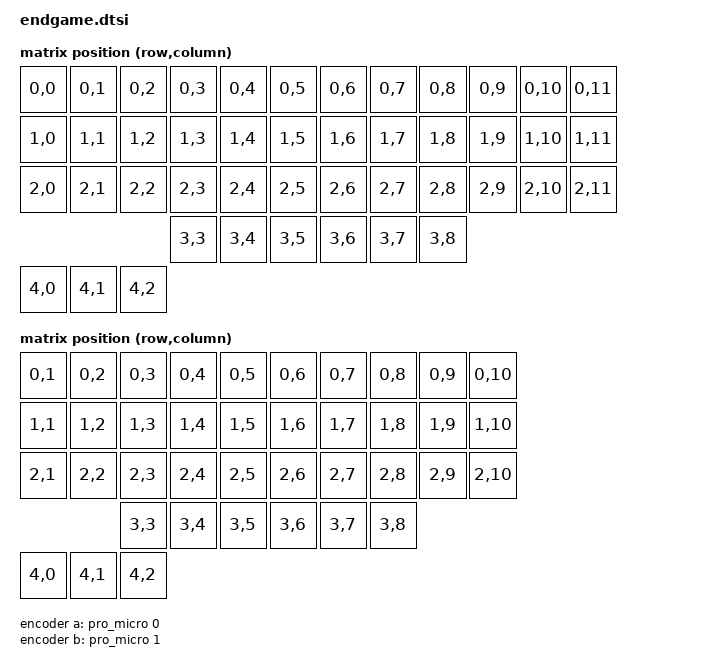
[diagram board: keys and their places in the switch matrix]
/*
 * Copyright (c) 2020 Pete Johanson
 *
 * SPDX-License-Identifier: MIT
 */

#include <dt-bindings/zmk/matrix_transform.h>

&pinctrl {
    spi0_default: spi0_default {
        group1 {
            psels = <NRF_PSEL(SPIM_SCK, 0, 29)>,
                <NRF_PSEL(SPIM_MOSI, 0, 31)>,
                <NRF_PSEL(SPIM_MISO, 0, 31)>;
        };
    };

    spi0_sleep: spi0_sleep {
        group1 {
            psels = <NRF_PSEL(SPIM_SCK, 0, 29)>,
                <NRF_PSEL(SPIM_MOSI, 0, 31)>,
                <NRF_PSEL(SPIM_MISO, 0, 31)>;
            low-power-enable;
        };
    };
};

&spi1 {
    status = "okay";
    compatible = "nordic,nrf-spim";
    pinctrl-0 = <&spi0_default>;
    pinctrl-1 = <&spi0_sleep>;
    pinctrl-names = "default", "sleep";
    cs-gpios = <&gpio0 2 GPIO_ACTIVE_LOW>;

    trackball: trackball@0 {
        status = "okay";
        compatible = "pixart,pmw3610";
		wakeup-source;
        reg = <0>;
        spi-max-frequency = <2000000>;
        irq-gpios = <&gpio1 13 (GPIO_ACTIVE_LOW | GPIO_PULL_UP)>;
        cpi = <400>;
	evt-type = <0x02>;
        x-input-code = <0x00>;
        y-input-code = <0x01>;
    };
};

/ {
    chosen {
        zmk,kscan = &kscan_comp2;
        zmk,matrix-transform = &default_transform;
    };

    default_transform: keymap_transform_0 {
        compatible = "zmk,matrix-transform";
        columns = <12>;
        rows = <5>;
// | SW1  | SW2  | SW3  | SW4  | SW5  | SW6  |   | SW6  | SW5  | SW4  | SW3  | SW2  | SW1  |
// | SW7  | SW8  | SW9  | SW10 | SW11 | SW12 |   | SW12 | SW11 | SW10 | SW9  | SW8  | SW7  |
// | SW13 | SW14 | SW15 | SW16 | SW17 | SW18 |   | SW18 | SW17 | SW16 | SW15 | SW14 | SW13 |
//                      | SW19 | SW20 | SW21 |   | SW21 | SW20 | SW19 |
        map = <
RC(0,0) RC(0,1) RC(0,2) RC(0,3) RC(0,4) RC(0,5)  RC(0,6) RC(0,7) RC(0,8) RC(0,9) RC(0,10) RC(0,11)
RC(1,0) RC(1,1) RC(1,2) RC(1,3) RC(1,4) RC(1,5)  RC(1,6) RC(1,7) RC(1,8) RC(1,9) RC(1,10) RC(1,11)
RC(2,0) RC(2,1) RC(2,2) RC(2,3) RC(2,4) RC(2,5)  RC(2,6) RC(2,7) RC(2,8) RC(2,9) RC(2,10) RC(2,11)
                        RC(3,3) RC(3,4) RC(3,5)  RC(3,6) RC(3,7) RC(3,8)
RC(4,0) RC(4,1) RC(4,2)
        >;
    };

    five_column_transform: keymap_transform_1 {
        compatible = "zmk,matrix-transform";
		wakeup-source;
        columns = <10>;
        rows = <4>;
// | SW2  | SW3  | SW4  | SW5  | SW6  |   | SW6  | SW5  | SW4  | SW3  | SW2  |
// | SW8  | SW9  | SW10 | SW11 | SW12 |   | SW12 | SW11 | SW10 | SW9  | SW8  |
// | SW14 | SW15 | SW16 | SW17 | SW18 |   | SW18 | SW17 | SW16 | SW15 | SW14 |
//                      | SW19 | SW20 | SW21 |   | SW21 | SW20 | SW19 |
        map = <
RC(0,1) RC(0,2) RC(0,3) RC(0,4) RC(0,5)  RC(0,6) RC(0,7) RC(0,8) RC(0,9) RC(0,10)
RC(1,1) RC(1,2) RC(1,3) RC(1,4) RC(1,5)  RC(1,6) RC(1,7) RC(1,8) RC(1,9) RC(1,10)
RC(2,1) RC(2,2) RC(2,3) RC(2,4) RC(2,5)  RC(2,6) RC(2,7) RC(2,8) RC(2,9) RC(2,10)
                RC(3,3) RC(3,4) RC(3,5)  RC(3,6) RC(3,7) RC(3,8)
RC(4,0) RC(4,1) RC(4,2)
        >;
    };

    kscan0: kscan {
        compatible = "zmk,kscan-gpio-matrix";
        wakeup-source;

        diode-direction = "col2row";
    };

    kscan1: kscan_1 {
	compatible = "zmk,kscan-gpio-direct";
	wakeup-source;
	toggle-mode;
    };

    kscan_comp2: kscan_composite_2 {
        compatible = "zmk,kscan-composite";
        columns = <12>;
        rows = <5>;

        // Include the matrix driver
        matrix {
            kscan = <&kscan0>;
        };

        // Include the direct GPIO driver...
        direct {
            kscan = <&kscan1>;
            row-offset = <4>; // ...and shift it to not overlap
        };
    };	

    encoder: encoder {
		compatible = "alps,ec11";
		wakeup-source;
		a-gpios = <&pro_micro 0 (GPIO_ACTIVE_HIGH | GPIO_PULL_UP)>;
		b-gpios = <&pro_micro 1 (GPIO_ACTIVE_HIGH | GPIO_PULL_UP)>;
		steps = <80>;
		status = "disabled";
	};

    sensors: sensors {
		compatible = "zmk,keymap-sensors";
		sensors = <&encoder>;
		triggers-per-rotation = <20>;
    };

    // TODO: per-key RGB node(s)?
};
